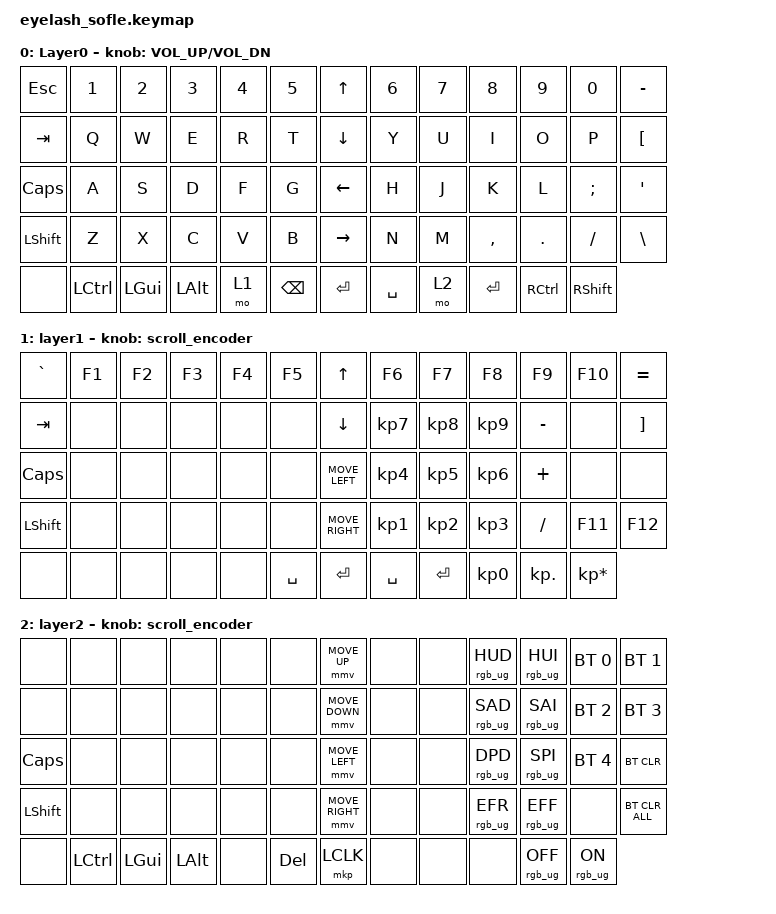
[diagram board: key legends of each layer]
#include <behaviors.dtsi>
#include <dt-bindings/zmk/bt.h>
#include <dt-bindings/zmk/keys.h>
#include <dt-bindings/zmk/mouse.h>
#include <dt-bindings/zmk/outputs.h>
#include <dt-bindings/zmk/rgb.h>

#include <input/processors.dtsi>

/*

   &mmv_input_listener {
       input-processors = <&zip_xy_scaler 2 1>;
   };

   &msc_input_listener {
       input-processors = <&zip_xy_scaler 2 1>;
   };

 */

#define ZMK_MOUSE_DEFAULT_MOVE_VAL 1200  // 600
#define ZMK_MOUSE_DEFAULT_SCRL_VAL 20    // 10


/ {
    behaviors {
        mmv {
            acceleration-exponent = <1>;      // 1
            time-to-max-speed-ms = <900>;    // 40
            delay-ms = <0>;                   // 0
        };

        msc {
            acceleration-exponent = <1>;      // 0
            time-to-max-speed-ms = <400>;      // 500
            delay-ms = <0>;                   //   10
        };

        tap_dance_capslock: tap_dance {
            compatible = "zmk,behavior-tap-dance";
            #binding-cells = <2>;
            bindings = <&kp LSFT>, <&caps>;
            tapping-term-ms = <200>;
        };
    };

    scroll_encoder: scroll_encoder {
        compatible = "zmk,behavior-sensor-rotate";
        #sensor-binding-cells = <0>;
        bindings = <&msc SCRL_DOWN>, <&msc SCRL_UP>;

        tap-ms = <30>;
    };

    keymap {
        compatible = "zmk,keymap";
        hold-trigger-key-positions = < 2 0 >;

        layer0 {
            bindings = <
&kp ESC      &kp N1      &kp N2         &kp N3         &kp N4   &kp N5          &kp UP_ARROW      &kp N6      &kp N7   &kp N8      &kp N9      &kp N0       &kp MINUS
&kp TAB      &kp Q       &kp W          &kp E          &kp R    &kp T           &kp DOWN_ARROW    &kp Y       &kp U    &kp I       &kp O       &kp P        &kp LBKT
&kp CAPS     &kp A       &kp S          &kp D          &kp F    &kp G           &kp LEFT_ARROW    &kp H       &kp J    &kp K       &kp L       &kp SEMI     &kp APOS
&kp LSHIFT   &kp Z       &kp X          &kp C          &kp V    &kp B           &kp RIGHT_ARROW   &kp N       &kp M    &kp COMMA   &kp DOT     &kp FSLH     &kp BSLH
&none        &kp LCTRL   &kp LEFT_GUI   &kp LEFT_ALT   &mo 1    &kp BACKSPACE   &kp ENTER         &kp SPACE   &mo 2    &kp ENTER   &kp RCTRL   &kp RSHIFT
            >;

            sensor-bindings = <&inc_dec_kp C_VOLUME_UP C_VOL_DN>;
            display-name = "Layer0";
        };

        layer1 {
            bindings = <
&kp GRAVE    &kp F1  &kp F2  &kp F3  &kp F4  &kp F5      &kp UP_ARROW     &kp F6      &kp F7      &kp F8      &kp F9       &kp F10           &kp EQUAL
&kp TAB      &none   &none   &none   &none   &none       &kp DOWN_ARROW   &kp KP_N7   &kp KP_N8   &kp KP_N9   &kp MINUS    &none             &kp RBKT
&kp CAPS     &none   &none   &none   &none   &none       &kp MOVE_LEFT    &kp KP_N4   &kp KP_N5   &kp KP_N6   &kp PLUS     &none             &none
&kp LSHIFT   &none   &none   &none   &none   &none       &kp MOVE_RIGHT   &kp KP_N1   &kp KP_N2   &kp KP_N3   &kp FSLH     &kp F11           &kp F12
&none        &none   &none   &none   &none   &kp SPACE   &kp ENTER        &kp SPACE   &kp ENTER   &kp KP_N0   &kp KP_DOT   &kp KP_MULTIPLY
            >;

            display-name = "layer1";
            sensor-bindings = <&scroll_encoder>;
        };

        layer2 {
            bindings = <
&none        &none       &none          &none           &none   &none     &mmv MOVE_UP      &none   &none   &rgb_ug RGB_HUD   &rgb_ug RGB_HUI   &bt BT_SEL 0     &bt BT_SEL 1
&none        &none       &none          &none           &none   &none     &mmv MOVE_DOWN    &none   &none   &rgb_ug RGB_SAD   &rgb_ug RGB_SAI   &bt BT_SEL 2     &bt BT_SEL 3
&kp CAPS     &none       &none          &none           &none   &none     &mmv MOVE_LEFT    &none   &none   &rgb_ug RGB_DPD   &rgb_ug RGB_SPI   &bt BT_SEL 4     &bt BT_CLR  
&kp LSHIFT   &none       &none          &none           &none   &none     &mmv MOVE_RIGHT   &none   &none   &rgb_ug RGB_EFR   &rgb_ug RGB_EFF   &none            &bt BT_CLR_ALL
&none        &kp LCTRL   &kp LEFT_GUI   &kp LEFT_ALT    &none   &kp DEL   &mkp LCLK         &none   &none   &none             &rgb_ug RGB_OFF   &rgb_ug RGB_ON
            >;

            display-name = "layer2";
            sensor-bindings = <&scroll_encoder>;
        };
    };
};
